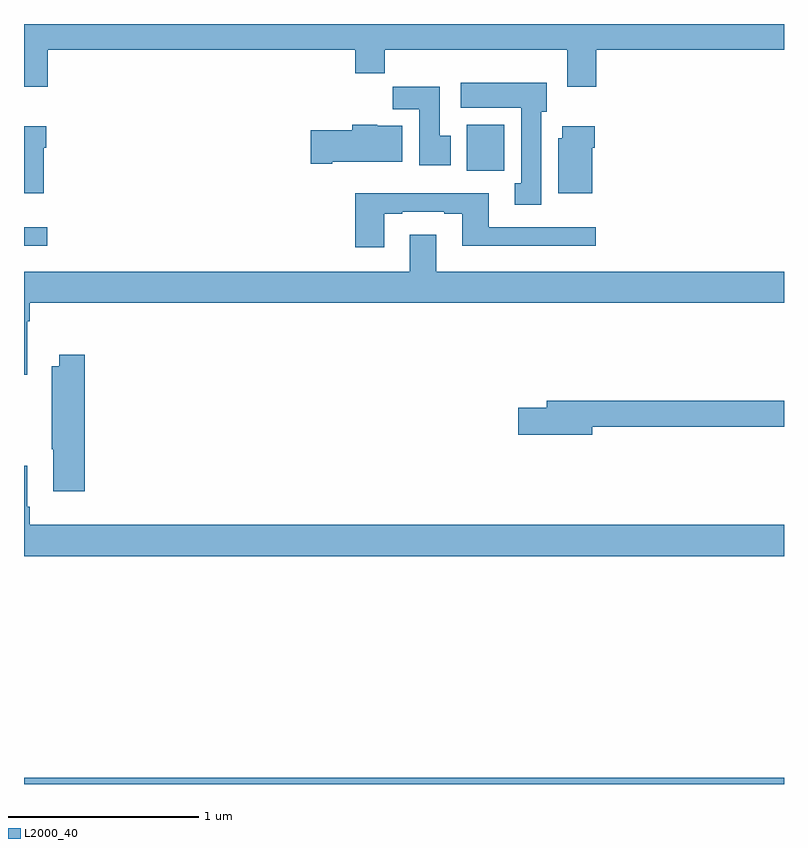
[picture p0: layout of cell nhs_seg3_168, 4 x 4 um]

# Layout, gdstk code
import gdstk
lib = gdstk.Library(unit=1e-6, precision=1e-09)
def R(c, l, rs):  # rectangles x0, y0, x1, y1
    for r in rs: c.add(gdstk.rectangle(r[:2], r[2:], *l))
def P(c, l, *ps):  # polygons
    for p in ps: c.add(gdstk.Polygon(p, *l))
L2000_40 = (2000, 40)

nhs_seg3_168 = lib.new_cell('nhs_seg3_168')
R(nhs_seg3_168, L2000_40, [(119,682.4,123,682.432), (119,685.232,119.122,685.329), (121.331,685.628,121.528,685.87)])
P(nhs_seg3_168, L2000_40, [(119.126,686.264),(120.743,686.264),(120.743,686.14),(120.899,686.14),(120.899,686.264),(121.859,686.264),(121.859,686.07),(122.012,686.07),(122.012,686.264),(123,686.264),(123,686.4),(119,686.4),(119,686.07),(119.126,686.07)],
  [(121.723,685.938),(121.75,685.938),(121.75,686.092),(121.299,686.092),(121.299,685.958),(121.616,685.958),(121.616,685.562),(121.583,685.562),(121.583,685.449),(121.723,685.449)],
  [(121.246,685.812),(121.189,685.812),(121.189,686.071),(120.94,686.071),(120.94,685.952),(121.079,685.952),(121.079,685.656),(121.246,685.656)],
  [(120.622,685.676),(120.991,685.676),(120.991,685.864),(120.858,685.864),(120.858,685.87),(120.728,685.87),(120.728,685.842),(120.51,685.842),(120.51,685.664),(120.622,685.664)],
  [(121.99,685.748),(122.003,685.748),(122.003,685.861),(121.832,685.861),(121.832,685.8),(121.811,685.8),(121.811,685.508),(121.99,685.508)],
  [(119.104,685.748),(119.117,685.748),(119.117,685.861),(119,685.861),(119,685.508),(119.104,685.508)],
  [(120.895,685.401),(120.991,685.401),(120.991,685.413),(121.211,685.413),(121.211,685.401),(121.307,685.401),(121.307,685.232),(122.008,685.232),(122.008,685.329),(121.447,685.329),(121.447,685.51),(120.743,685.51),(120.743,685.224),(120.895,685.224)],
  [(119.017,684.836),(119.03,684.836),(119.03,684.932),(123,684.932),(123,685.096),(121.171,685.096),(121.171,685.291),(121.031,685.291),(121.031,685.096),(119,685.096),(119,684.555),(119.017,684.555)],
  [(119.321,684.658),(119.186,684.658),(119.186,684.598),(119.146,684.598),(119.146,684.163),(119.153,684.163),(119.153,683.94),(119.321,683.94)],
  [(121.99,684.28),(123,684.28),(123,684.416),(121.751,684.416),(121.751,684.38),(121.602,684.38),(121.602,684.238),(121.99,684.238)],
  [(123,683.764),(119.03,683.764),(119.03,683.86),(119.017,683.86),(119.017,684.076),(119,684.076),(119,683.6),(123,683.6)])

lib.write_gds('nhs_seg3_168.gds')
